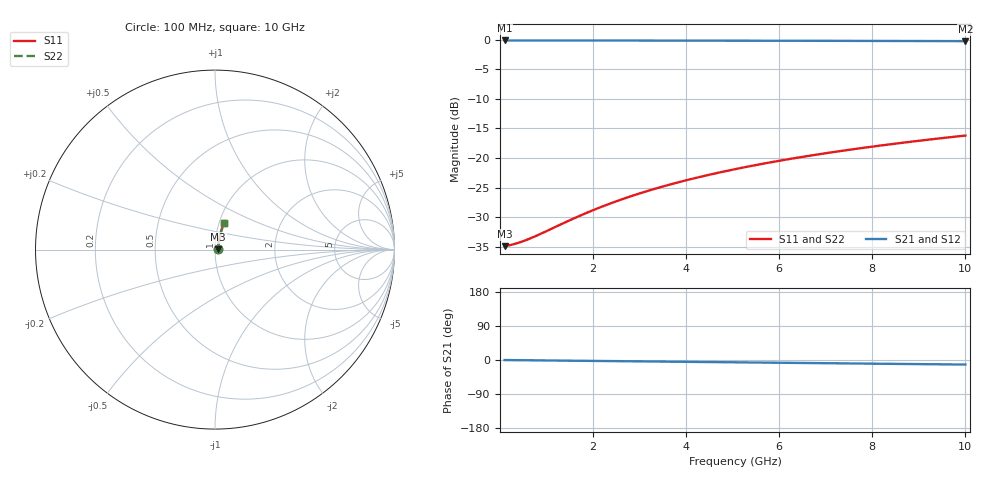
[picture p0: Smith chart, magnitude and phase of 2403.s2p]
# Hz S RI R 50.00
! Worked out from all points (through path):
!   100 points, 100 MHz to 10 GHz, reference 50 ohm
!   highest |S21| = -0.16 dB at 100 MHz (marker M1); lowest = -0.3 dB at 10 GHz (marker M2)
!   group delay of S21, straight-line fit = 3.35 ps
!   lowest |S11| = -34.9 dB at 100 MHz (marker M3), VSWR 1.04, Z = 51.8 + j0.157 ohm
!   |S11| at or under -10 dB: start of sweep to end of sweep
!   |S22| runs from -34.9 to -16.2 dB; largest |S21 - S12| = 0
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1e8  0.018 0.00152  0.982 -0.00207  0.982 -0.00207  0.018 0.00152
2e8  0.0181 0.00303  0.9819 -0.00415  0.9819 -0.00415  0.0181 0.00303
3e8  0.0182 0.00455  0.9818 -0.00622  0.9818 -0.00622  0.0182 0.00455
4e8  0.0183 0.00606  0.9817 -0.00829  0.9817 -0.00829  0.0183 0.00606
6e8  0.0185 0.00909  0.9815 -0.0124  0.9815 -0.0124  0.0185 0.00909
8e8  0.0186 0.0121  0.9813 -0.0166  0.9813 -0.0166  0.0186 0.0121
1.5e9  0.0194 0.0227  0.9806 -0.0311  0.9806 -0.0311  0.0194 0.0227
1.8e9  0.0198 0.0272  0.9802 -0.0373  0.9802 -0.0373  0.0198 0.0272
2.2e9  0.0204 0.0333  0.9795 -0.0455  0.9795 -0.0455  0.0204 0.0333
2.6e9  0.021 0.0393  0.9788 -0.0538  0.9788 -0.0538  0.021 0.0393
3e9  0.0218 0.0453  0.978 -0.062  0.978 -0.062  0.0218 0.0453
3.4e9  0.0227 0.0513  0.9771 -0.0702  0.9771 -0.0702  0.0227 0.0513
3.8e9  0.0237 0.0572  0.9761 -0.0784  0.9761 -0.0784  0.0237 0.0572
4.2e9  0.0247 0.0632  0.975 -0.0866  0.975 -0.0866  0.0247 0.0632
4.6e9  0.0259 0.0691  0.9737 -0.0948  0.9737 -0.0948  0.0259 0.0691
5.1e9  0.0275 0.0765  0.9721 -0.1049  0.9721 -0.1049  0.0275 0.0765
5.9e9  0.0304 0.0882  0.9691 -0.1211  0.9691 -0.1211  0.0304 0.0882
6.7e9  0.0336 0.0998  0.9656 -0.1372  0.9656 -0.1372  0.0336 0.0998
7.5e9  0.0372 0.1112  0.9618 -0.1532  0.9618 -0.1532  0.0372 0.1112
8.4e9  0.0418 0.124  0.9571 -0.171  0.9571 -0.171  0.0418 0.124
9.2e9  0.0462 0.1351  0.9524 -0.1866  0.9524 -0.1866  0.0462 0.1351
1e10  0.051 0.1461  0.9474 -0.2021  0.9474 -0.2021  0.051 0.1461
